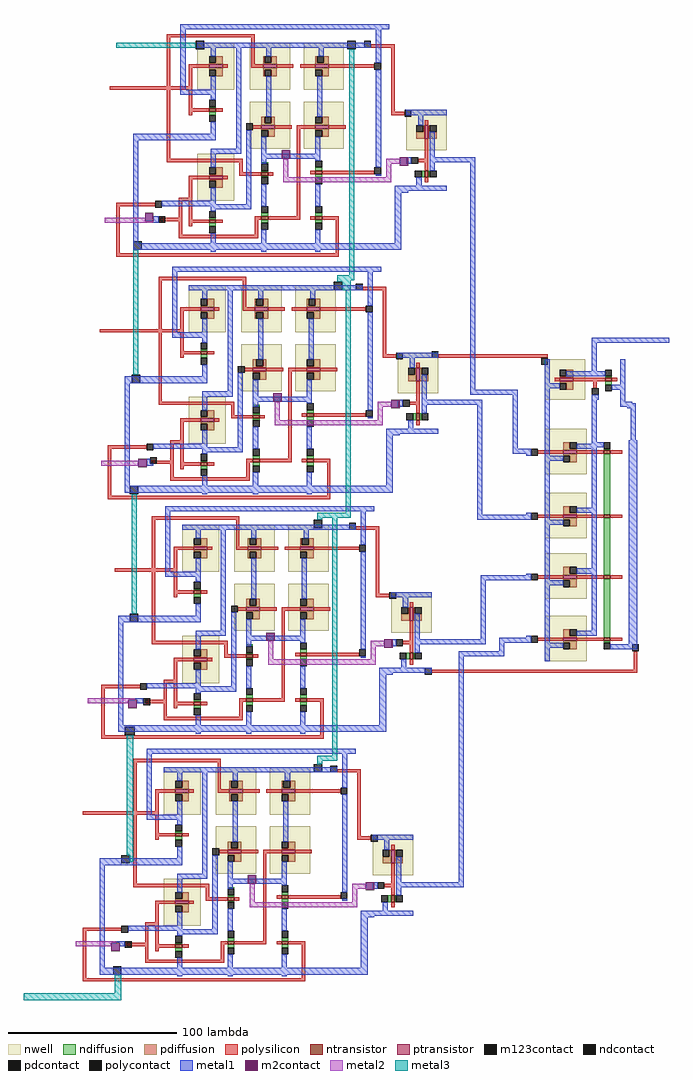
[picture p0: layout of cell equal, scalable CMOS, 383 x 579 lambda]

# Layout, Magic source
magic
tech scmos
<< polysilicon >>
rect -307 117 -285 119
rect -313 -27 -288 -25
rect -112 -42 -47 -40
rect -304 -169 -294 -167
rect 4 -227 6 -216
rect -116 -229 6 -227
rect -323 -313 -305 -311
<< polycontact >>
rect -278 38 -274 42
rect -116 -42 -112 -38
rect -51 -46 -47 -42
rect -283 -105 -279 -101
rect 3 -216 7 -212
rect -120 -230 -116 -226
rect -287 -248 -283 -244
rect -298 -392 -294 -388
<< metal1 >>
rect -97 74 -90 77
rect -281 39 -278 42
rect -283 38 -278 39
rect -93 -61 -90 74
rect -21 -33 25 -30
rect -21 -37 -18 -33
rect -47 -46 -46 -43
rect -49 -50 -46 -46
rect -93 -64 -65 -61
rect -103 -70 -86 -67
rect -285 -105 -283 -102
rect -285 -106 -281 -105
rect -89 -135 -86 -70
rect -68 -96 -65 -64
rect -68 -99 -57 -96
rect -89 -138 -59 -135
rect -87 -174 -60 -171
rect -87 -209 -84 -174
rect -108 -212 -84 -209
rect -76 -211 -59 -208
rect -76 -216 -73 -211
rect -100 -219 -73 -216
rect -295 -245 -287 -244
rect -291 -247 -287 -245
rect -100 -353 -97 -219
rect -119 -356 -97 -353
rect -305 -389 -298 -388
rect -301 -391 -298 -389
<< m2contact >>
rect -286 39 -281 44
rect -290 -107 -285 -102
rect -296 -250 -291 -245
rect -306 -394 -301 -389
<< metal2 >>
rect -310 39 -286 41
rect -310 38 -281 39
rect -312 -106 -290 -103
rect -320 -245 -292 -244
rect -320 -247 -296 -245
rect -327 -389 -303 -388
rect -327 -391 -306 -389
<< m123contact >>
rect -256 141 -251 146
rect -166 141 -161 146
rect -293 22 -288 27
rect -174 -2 -169 3
rect -294 -57 -289 -52
rect -295 -123 -290 -118
rect -186 -143 -181 -138
rect -295 -199 -290 -194
rect -298 -266 -292 -261
rect -186 -288 -181 -283
rect -300 -342 -295 -337
rect -305 -408 -300 -403
<< metal3 >>
rect -303 142 -256 145
rect -293 -52 -290 22
rect -165 7 -162 141
rect -172 4 -162 7
rect -172 3 -164 4
rect -169 -2 -164 3
rect -294 -194 -291 -123
rect -167 -134 -164 -2
rect -184 -137 -164 -134
rect -184 -138 -181 -137
rect -297 -337 -293 -266
rect -175 -278 -172 -137
rect -184 -281 -172 -278
rect -184 -283 -181 -281
rect -295 -341 -293 -337
rect -304 -419 -300 -408
rect -358 -423 -300 -419
use xnor  xnor_0
transform 1 0 -98 0 1 51
box -205 -33 2 105
use xnor  xnor_1
transform 1 0 -103 0 1 -93
box -205 -33 2 105
use xnor  xnor_2
transform 1 0 -107 0 1 -235
box -205 -33 2 105
use xnor  xnor_3
transform 1 0 -118 0 1 -379
box -205 -33 2 105
use and4  and4_0
transform 0 -1 -26 1 0 -182
box -40 -32 146 34
<< end >>

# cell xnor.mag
magic
tech scmos
<< polysilicon >>
rect -54 91 -40 93
rect -187 66 -175 68
rect -42 53 -40 91
rect -42 51 -34 53
rect -179 -12 -167 -10
<< polycontact >>
rect -58 91 -54 95
rect -34 50 -30 54
<< metal1 >>
rect -11 23 2 26
rect -40 5 -32 9
rect -40 -25 -36 5
rect -85 -29 -36 -25
<< m2contact >>
rect -107 25 -102 30
rect -37 21 -32 26
<< metal2 >>
rect -106 14 -103 25
rect -45 22 -37 25
rect -45 14 -42 22
rect -106 11 -42 14
use xor  xor_0
transform 1 0 -118 0 1 58
box -87 -91 75 47
use not  not_0
transform 1 0 -21 0 1 39
box -12 -33 12 15
<< end >>

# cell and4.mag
magic
tech scmos
<< nwell >>
rect -40 -2 -13 23
rect -3 -2 24 23
rect 33 -2 60 23
rect 71 -2 98 23
<< ntransistor >>
rect -28 -16 -26 -12
rect 9 -16 11 -12
rect 45 -16 47 -12
rect 83 -16 85 -12
<< ptransistor >>
rect -28 4 -26 12
rect 9 4 11 12
rect 45 4 47 12
rect 83 4 85 12
<< ndiffusion >>
rect -29 -16 -28 -12
rect -26 -16 9 -12
rect 11 -16 45 -12
rect 47 -16 83 -12
rect 85 -16 86 -12
<< pdiffusion >>
rect -29 8 -28 12
rect -33 4 -28 8
rect -26 8 -21 12
rect -26 4 -25 8
rect 8 8 9 12
rect 4 4 9 8
rect 11 8 16 12
rect 11 4 12 8
rect 44 8 45 12
rect 40 4 45 8
rect 47 8 52 12
rect 47 4 48 8
rect 82 8 83 12
rect 78 4 83 8
rect 85 8 90 12
rect 85 4 86 8
<< ndcontact >>
rect -33 -16 -29 -12
rect 86 -16 90 -12
<< pdcontact >>
rect -33 8 -29 12
rect -25 4 -21 8
rect 4 8 8 12
rect 12 4 16 8
rect 40 8 44 12
rect 48 4 52 8
rect 78 8 82 12
rect 86 4 90 8
<< polysilicon >>
rect -28 12 -26 27
rect 9 12 11 27
rect 45 12 47 27
rect 83 12 85 27
rect -28 -12 -26 4
rect 9 -12 11 4
rect 45 -12 47 4
rect 83 -12 85 4
rect -28 -23 -26 -16
rect 9 -23 11 -16
rect 45 -23 47 -16
rect 83 -23 85 -16
<< polycontact >>
rect -29 27 -25 31
rect 8 27 12 31
rect 44 27 48 31
rect 82 27 86 31
<< metal1 >>
rect -29 31 -25 34
rect 8 31 12 34
rect 44 31 48 34
rect 82 31 86 34
rect -40 20 117 23
rect -32 12 -29 20
rect 5 12 8 20
rect 41 12 44 20
rect 79 12 82 20
rect -25 -5 -22 4
rect 12 -5 15 4
rect 48 -5 51 4
rect 86 -5 89 4
rect -25 -8 116 -5
rect 138 -8 146 -5
rect 87 -12 90 -8
rect -33 -27 -30 -16
rect 111 -25 118 -22
rect 111 -26 114 -25
rect -33 -28 91 -27
rect 110 -28 114 -26
rect -33 -29 114 -28
rect -33 -31 113 -29
rect -33 -32 91 -31
use not  not_0
transform 1 0 127 0 1 8
box -12 -33 12 15
<< end >>

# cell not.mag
magic
tech scmos
<< nwell >>
rect -12 -9 12 15
<< ntransistor >>
rect -1 -25 1 -21
<< ptransistor >>
rect -1 -2 1 6
<< ndiffusion >>
rect -3 -25 -1 -21
rect 1 -25 2 -21
<< pdiffusion >>
rect -2 2 -1 6
rect -6 -2 -1 2
rect 1 2 2 6
rect 1 -2 6 2
<< ndcontact >>
rect -7 -25 -3 -21
rect 2 -25 6 -21
<< pdcontact >>
rect -6 2 -2 6
rect 2 2 6 6
<< polysilicon >>
rect -1 6 1 9
rect -1 -14 1 -2
rect -5 -16 1 -14
rect -1 -21 1 -16
rect -1 -28 1 -25
<< polycontact >>
rect -9 -17 -5 -13
<< metal1 >>
rect -12 12 12 15
rect -5 6 -2 12
rect 2 -13 5 2
rect -12 -17 -9 -13
rect 2 -16 12 -13
rect 2 -21 5 -16
rect -6 -30 -3 -25
rect -12 -33 12 -30
<< end >>

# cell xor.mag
magic
tech scmos
<< nwell >>
rect -39 8 -17 36
rect -8 8 16 36
rect 24 8 48 36
rect -8 -27 16 1
rect 24 -27 48 1
rect -39 -58 -17 -30
<< ntransistor >>
rect -32 -5 -28 -3
rect -1 -43 3 -41
rect 31 -42 35 -40
rect -1 -69 3 -67
rect 31 -69 35 -67
rect -32 -71 -28 -69
<< ptransistor >>
rect -32 21 -24 23
rect 0 21 8 23
rect 31 21 39 23
rect -1 -15 7 -13
rect 31 -15 39 -13
rect -32 -45 -24 -43
<< ndiffusion >>
rect -32 -3 -28 -2
rect -32 -7 -28 -5
rect -1 -36 3 -35
rect -1 -41 3 -40
rect -1 -44 3 -43
rect -1 -67 3 -65
rect 31 -40 35 -38
rect 31 -44 35 -42
rect 31 -67 35 -65
rect -32 -69 -28 -68
rect -32 -73 -28 -71
rect -1 -71 3 -69
rect 31 -71 35 -69
<< pdiffusion >>
rect -28 24 -24 28
rect -32 23 -24 24
rect 0 24 1 28
rect 5 24 8 28
rect 0 23 8 24
rect 31 24 32 28
rect 36 24 39 28
rect 31 23 39 24
rect -32 20 -24 21
rect -28 16 -24 20
rect 0 20 8 21
rect 0 16 1 20
rect 5 16 8 20
rect 31 20 39 21
rect 35 16 39 20
rect -1 -12 1 -8
rect 5 -12 7 -8
rect -1 -13 7 -12
rect 35 -12 39 -8
rect 31 -13 39 -12
rect -1 -16 7 -15
rect 3 -20 7 -16
rect -28 -42 -24 -38
rect -32 -43 -24 -42
rect -32 -46 -24 -45
rect -28 -50 -24 -46
rect 31 -16 39 -15
rect 35 -20 39 -16
<< ndcontact >>
rect -32 -2 -28 2
rect -32 -11 -28 -7
rect -1 -40 3 -36
rect -1 -48 3 -44
rect -32 -68 -28 -64
rect -1 -65 3 -61
rect 31 -38 35 -34
rect 31 -48 35 -44
rect 31 -65 35 -61
rect -32 -77 -28 -73
rect -1 -75 3 -71
rect 31 -75 35 -71
<< pdcontact >>
rect -32 24 -28 28
rect 1 24 5 28
rect 32 24 36 28
rect -32 16 -28 20
rect 1 16 5 20
rect 31 16 35 20
rect 1 -12 5 -8
rect 31 -12 35 -8
rect -1 -20 3 -16
rect -32 -42 -28 -38
rect -32 -50 -28 -46
rect 31 -20 35 -16
<< polysilicon >>
rect -57 39 -5 41
rect -57 10 -55 39
rect -7 23 -5 39
rect -44 21 -32 23
rect -24 21 -21 23
rect -7 21 0 23
rect 8 21 18 23
rect 22 21 31 23
rect 39 21 66 23
rect -44 10 -42 21
rect -57 8 -42 10
rect -57 -33 -55 8
rect -44 -3 -42 8
rect -44 -5 -32 -3
rect -28 -5 -24 -3
rect -44 -7 -42 -5
rect -6 -15 -1 -13
rect 7 -15 17 -13
rect 20 -15 31 -13
rect 39 -15 49 -13
rect -57 -35 -12 -33
rect -14 -41 -12 -35
rect -14 -43 -1 -41
rect 3 -43 6 -41
rect -44 -45 -32 -43
rect -24 -45 -21 -43
rect -44 -56 -42 -45
rect -50 -58 -42 -56
rect -87 -61 -64 -59
rect -87 -89 -85 -61
rect -50 -78 -48 -58
rect -44 -69 -42 -58
rect 20 -67 22 -15
rect 28 -42 31 -40
rect 35 -42 66 -40
rect -5 -69 -1 -67
rect 3 -69 22 -67
rect 28 -69 31 -67
rect 35 -69 45 -67
rect -44 -71 -32 -69
rect -28 -71 -24 -69
rect -44 -73 -42 -71
rect -5 -78 -3 -69
rect -50 -80 -3 -78
rect 43 -89 45 -69
rect -87 -91 45 -89
<< polycontact >>
rect 66 20 70 24
rect -10 -16 -6 -12
rect -64 -62 -60 -58
rect 66 -42 70 -38
<< metal1 >>
rect -49 44 75 47
rect -49 8 -46 44
rect -39 33 64 36
rect -31 28 -28 33
rect -31 8 -28 16
rect -49 5 -28 8
rect -31 2 -28 5
rect -31 -18 -28 -11
rect -77 -22 -28 -18
rect -77 -83 -74 -22
rect -16 -27 -13 33
rect 2 28 5 33
rect 33 28 36 33
rect 67 24 70 44
rect 2 -8 5 16
rect 32 -8 35 16
rect -31 -30 -13 -27
rect -31 -38 -28 -30
rect -31 -58 -28 -50
rect -60 -60 -28 -58
rect -10 -60 -7 -16
rect -1 -30 2 -20
rect 31 -30 34 -20
rect -1 -33 34 -30
rect -1 -36 2 -33
rect 31 -34 34 -33
rect 67 -38 70 20
rect 67 -43 70 -42
rect -60 -61 -7 -60
rect -31 -63 -7 -61
rect -1 -61 2 -48
rect 31 -61 34 -48
rect -31 -64 -28 -63
rect -31 -83 -28 -77
rect -1 -83 2 -75
rect 31 -83 34 -75
rect -77 -87 37 -83
rect -31 -88 -28 -87
rect -1 -88 2 -87
rect 31 -88 34 -87
<< end >>
